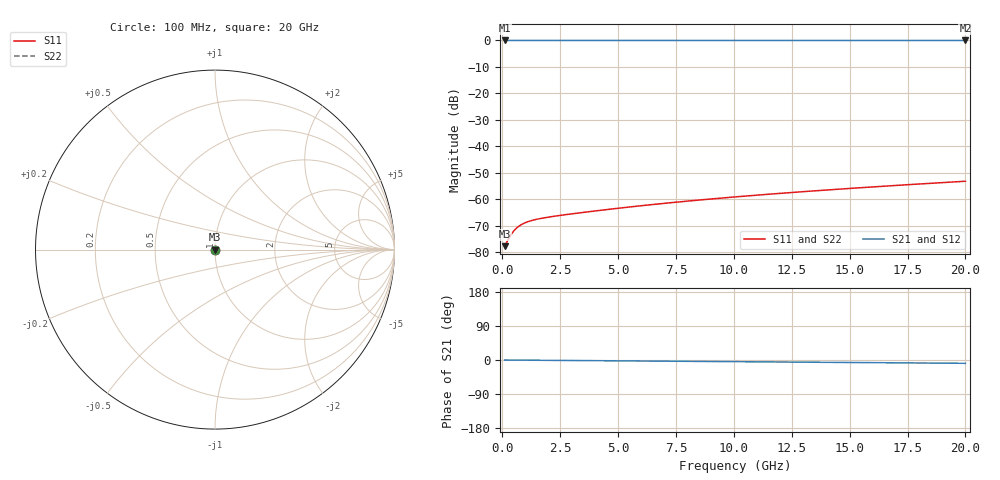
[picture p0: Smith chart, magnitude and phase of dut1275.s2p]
! Touchstone file exported from HFSS 2026.1.0
!  File:  C:/ffzhzh/LocalFiles/Ansys_Project_Files/temp_train_TSV_1275_1783194207_51560.aedt
!  Generated:  03:45:11 AM Jul  5, 2026
!  Design:  TSV
!  Project:  temp_train_TSV_1275_1783194207_51560
! Variables:
!  h_bsmrdl = 2um
!  h_ox = 20um
!  h_rdl = 5um
!  h_sub = 89.17um
!  h_tmrdl = 5um
!  h_tsv = 89.17um
!  h_via = 3um
!  l_bsmrdl = 300um
!  l_sub = 421.68um
!  l_tmrdl = 200um
!  m_sub = 200um
!  pitch = 43.29um
!  r_tsv = 10.84um
!  s_tmrdl = 10um
!  w_bsmrdl = 18um
!  w_sub = 500um
!  w_tmrdl = 12um
!  x_tsv_center1 = 206um
!  x_tsv_center2 = 524um
!  x_tsv_center3 = 736um
!  x_tsv_center4 = 1054um
!  x_tsv_center5 = 1266um
!  x_tsv_center6 = 1584um
# GHz S MA R 50.000000
! Terminal data exported
! Port[1] = TSV1_1_T1
! Port[2] = TSV1_1_T2
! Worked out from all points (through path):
!   200 points, 100 MHz to 20 GHz, reference 50 ohm
!   highest |S21| = 0.00 dB at 100 MHz (marker M1); lowest = 0.0 dB at 20 GHz (marker M2)
!   group delay of S21, straight-line fit = 1.21 ps
!   lowest |S11| = -77.8 dB at 100 MHz (marker M3), VSWR 1.00, Z = 50 + j0.00384 ohm
!   |S11| at or under -10 dB: start of sweep to end of sweep
!   |S22| runs from -77.8 to -53.2 dB; largest |S21 - S12| = 3.3e-15
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0.1  0.0001292 17.3  0.9999 -0.0  0.9999 -0.0  0.0001292 17.3
! Gamma 0 0 0 0
! Port Impedance 50 0 50 0
0.3  0.0001878 33.5  0.9998 -0.1  0.9998 -0.1  0.0001878 33.5
0.4  0.000221 35.1  0.9998 -0.2  0.9998 -0.2  0.000221 35.1
0.5  0.000252 34.8  0.9998 -0.2  0.9998 -0.2  0.000252 34.8
0.6  0.0002798 33.6  0.9998 -0.3  0.9998 -0.3  0.0002798 33.6
0.7  0.0003042 32.0  0.9997 -0.3  0.9997 -0.3  0.0003042 32.0
0.8  0.0003255 30.2  0.9997 -0.4  0.9997 -0.4  0.0003255 30.2
1  0.0003601 26.6  0.9997 -0.5  0.9997 -0.5  0.0003601 26.6
1.1  0.0003742 24.9  0.9997 -0.5  0.9997 -0.5  0.0003742 24.9
1.3  0.0003982 21.9  0.9996 -0.6  0.9996 -0.6  0.0003981 21.9
1.5  0.000418 19.2  0.9996 -0.7  0.9996 -0.7  0.000418 19.2
1.8  0.0004431 15.7  0.9996 -0.8  0.9996 -0.8  0.0004431 15.7
2.5  0.0004931 9.4  0.9995 -1.1  0.9995 -1.1  0.0004931 9.4
3.5  0.000562 2.0  0.9994 -1.5  0.9994 -1.5  0.000562 2.0
5.1  0.0006805 -8.6  0.9993 -2.2  0.9993 -2.2  0.0006804 -8.6
6.8  0.0008171 -18.7  0.9992 -3.0  0.9992 -3.0  0.0008171 -18.7
8.4  0.0009538 -27.0  0.9991 -3.7  0.9991 -3.7  0.0009537 -27.0
10.1  0.001107 -34.4  0.999 -4.4  0.999 -4.4  0.001107 -34.4
11.7  0.001258 -40.4  0.999 -5.1  0.999 -5.1  0.001258 -40.4
13.4  0.001427 -45.8  0.9989 -5.9  0.9989 -5.9  0.001427 -45.8
16.7  0.001783 -54.1  0.9988 -7.3  0.9988 -7.3  0.001783 -54.1
20  0.002182 -60.4  0.9986 -8.7  0.9986 -8.7  0.002181 -60.4
